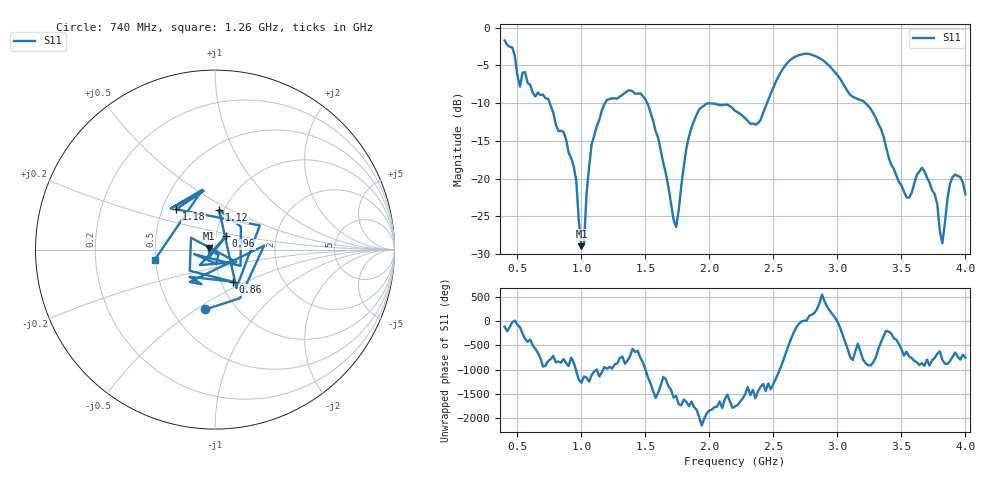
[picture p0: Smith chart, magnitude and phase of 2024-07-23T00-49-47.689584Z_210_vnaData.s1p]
!Created with skrf (http://scikit-rf.org).
# Hz S RI R 50.0
!freq ReS11 ImS11
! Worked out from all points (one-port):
!   181 points, 400 MHz to 4 GHz, reference 50 ohm
!   lowest |S11| = -28.9 dB at 1 GHz (marker M1), VSWR 1.07, Z = 46.6 + j0.692 ohm
!   |S11| at or under -10 dB: 752.7 MHz to 1.184 GHz (431.2 MHz wide, 44.5 % of centre); 1.515 GHz to 2.449 GHz (934.6 MHz wide, 47.2 % of centre); 3.219 GHz to end of sweep
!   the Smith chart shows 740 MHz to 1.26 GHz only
!   S11 on the Smith chart (normalised r, x): 740 MHz: 0.72, -0.55; 860 MHz: 1.14, -0.42; 960 MHz: 1.12, +0.17; 1.12 GHz: 0.95, +0.44; 1.18 GHz: 0.59, +0.29; 1.26 GHz: 0.49, -0.06
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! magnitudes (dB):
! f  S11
! 400 MHz  -1.7
! 520 MHz  -7.8
! 740 MHz  -9.4
! 860 MHz  -13.8
! 960 MHz  -20.3
! 1 GHz  -28.9
! 1.02 GHz  -28.7
! 1.08 GHz  -15.4
! 1.12 GHz  -13.0
! 1.18 GHz  -10.1
! 1.26 GHz  -9.4
! 1.3 GHz  -9.1
! 1.5 GHz  -9.5
! 1.72 GHz  -25.5
! 1.76 GHz  -24.2
! 1.82 GHz  -16.0
! 1.92 GHz  -10.8
! 2.2 GHz  -11.0
! 2.38 GHz  -12.6
! 2.66 GHz  -3.9
! 3.1 GHz  -8.9
! 3.28 GHz  -11.3
! 3.56 GHz  -22.5
! 3.68 GHz  -19.0
! 3.78 GHz  -23.3
! 3.82 GHz  -28.6
! 3.9 GHz  -19.8
! 4 GHz  -22.1
